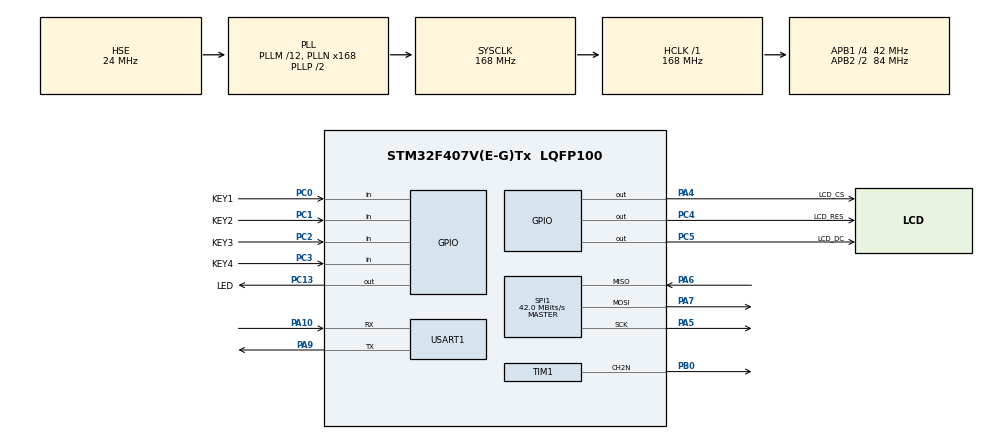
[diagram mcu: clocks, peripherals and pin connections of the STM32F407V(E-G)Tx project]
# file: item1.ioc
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Dma.Request0=USART1_TX
Dma.Request1=SPI1_TX
Dma.Request2=USART1_RX
Dma.SPI1_TX.1.Direction=DMA_MEMORY_TO_PERIPH
Dma.SPI1_TX.1.FIFOMode=DMA_FIFOMODE_DISABLE
Dma.SPI1_TX.1.Instance=DMA2_Stream3
Dma.SPI1_TX.1.MemDataAlignment=DMA_MDATAALIGN_BYTE
Dma.SPI1_TX.1.MemInc=DMA_MINC_ENABLE
Dma.SPI1_TX.1.Mode=DMA_NORMAL
Dma.SPI1_TX.1.PeriphDataAlignment=DMA_PDATAALIGN_BYTE
Dma.SPI1_TX.1.PeriphInc=DMA_PINC_DISABLE
Dma.SPI1_TX.1.Priority=DMA_PRIORITY_LOW
Dma.USART1_RX.2.Direction=DMA_PERIPH_TO_MEMORY
Dma.USART1_RX.2.FIFOMode=DMA_FIFOMODE_DISABLE
Dma.USART1_RX.2.Instance=DMA2_Stream2
Dma.USART1_RX.2.MemDataAlignment=DMA_MDATAALIGN_BYTE
Dma.USART1_RX.2.MemInc=DMA_MINC_ENABLE
Dma.USART1_RX.2.Mode=DMA_CIRCULAR
Dma.USART1_RX.2.PeriphDataAlignment=DMA_PDATAALIGN_BYTE
Dma.USART1_RX.2.PeriphInc=DMA_PINC_DISABLE
Dma.USART1_RX.2.Priority=DMA_PRIORITY_LOW
Dma.USART1_TX.0.Direction=DMA_MEMORY_TO_PERIPH
Dma.USART1_TX.0.FIFOMode=DMA_FIFOMODE_DISABLE
Dma.USART1_TX.0.Instance=DMA2_Stream7
Dma.USART1_TX.0.MemDataAlignment=DMA_MDATAALIGN_BYTE
Dma.USART1_TX.0.MemInc=DMA_MINC_ENABLE
Dma.USART1_TX.0.Mode=DMA_NORMAL
Dma.USART1_TX.0.PeriphDataAlignment=DMA_PDATAALIGN_BYTE
Dma.USART1_TX.0.PeriphInc=DMA_PINC_DISABLE
Dma.USART1_TX.0.Priority=DMA_PRIORITY_LOW
FREERTOS.Tasks01=defaultTask,24,1024,StartDefaultTask,Default,NULL,Dynamic,NULL,NULL;AppTaskpoll,8,128,AppTaskcb,Default,NULL,Dynamic,NULL,NULL
Mcu.Family=STM32F4
Mcu.Name=STM32F407V(E-G)Tx
Mcu.Package=LQFP100
NVIC.DMA2_Stream2_IRQn=true\:5\:0\:false\:false\:true\:true\:false\:true\:true
NVIC.DMA2_Stream3_IRQn=true\:5\:0\:false\:false\:true\:true\:false\:true\:true
NVIC.DMA2_Stream7_IRQn=true\:5\:0\:false\:false\:true\:true\:false\:true\:true
NVIC.PriorityGroup=NVIC_PRIORITYGROUP_4
NVIC.SPI1_IRQn=true\:5\:0\:false\:false\:true\:true\:true\:true\:true
NVIC.TIM2_IRQn=true\:5\:0\:false\:false\:true\:true\:true\:true\:true
NVIC.TIM4_IRQn=true\:15\:0\:false\:false\:true\:false\:false\:true\:true
NVIC.TimeBase=TIM4_IRQn
NVIC.TimeBaseIP=TIM4
NVIC.USART1_IRQn=true\:5\:0\:false\:false\:true\:true\:true\:true\:true
PA10.Mode=Asynchronous
PA10.Signal=USART1_RX
PA13.Mode=Serial_Wire
PA13.Signal=SYS_JTMS-SWDIO
PA14.Mode=Serial_Wire
PA14.Signal=SYS_JTCK-SWCLK
PA4.GPIO_Label=LCD_CS
PA4.GPIO_Speed=GPIO_SPEED_FREQ_HIGH
PA4.Signal=GPIO_Output
PA5.Mode=Full_Duplex_Master
PA5.Signal=SPI1_SCK
PA6.Mode=Full_Duplex_Master
PA6.Signal=SPI1_MISO
PA7.Mode=Full_Duplex_Master
PA7.Signal=SPI1_MOSI
PA9.Mode=Asynchronous
PA9.Signal=USART1_TX
PB0.Mode=PWM Generation2 CH2N
PB0.Signal=TIM1_CH2N
PC0.GPIO_Label=KEY1
PC0.GPIO_PuPd=GPIO_PULLUP
PC0.Signal=GPIO_Input
PC1.GPIO_Label=KEY2
PC1.GPIO_PuPd=GPIO_PULLUP
PC1.Signal=GPIO_Input
PC13-ANTI_TAMP.GPIO_Label=LED
PC13-ANTI_TAMP.Signal=GPIO_Output
PC14-OSC32_IN.Mode=LSE-External-Oscillator
PC14-OSC32_IN.Signal=RCC_OSC32_IN
PC15-OSC32_OUT.Mode=LSE-External-Oscillator
PC15-OSC32_OUT.Signal=RCC_OSC32_OUT
PC2.GPIO_Label=KEY3
PC2.GPIO_PuPd=GPIO_PULLUP
PC2.Signal=GPIO_Input
PC3.GPIO_Label=KEY4
PC3.GPIO_PuPd=GPIO_PULLUP
PC3.Signal=GPIO_Input
PC4.GPIO_Label=LCD_RES
PC4.GPIO_Speed=GPIO_SPEED_FREQ_HIGH
PC4.Signal=GPIO_Output
PC5.GPIO_Label=LCD_DC
PC5.GPIO_Speed=GPIO_SPEED_FREQ_HIGH
PC5.Signal=GPIO_Output
PH0-OSC_IN.Mode=HSE-External-Oscillator
PH0-OSC_IN.Signal=RCC_OSC_IN
PH1-OSC_OUT.Mode=HSE-External-Oscillator
PH1-OSC_OUT.Signal=RCC_OSC_OUT
ProjectManager.HeapSize=0x200
ProjectManager.StackSize=0x400
ProjectManager.TargetToolchain=MDK-ARM V5.32
RCC.48MHZClocksFreq_Value=84000000
RCC.AHBFreq_Value=168000000
RCC.APB1CLKDivider=RCC_HCLK_DIV4
RCC.APB1Freq_Value=42000000
RCC.APB1TimFreq_Value=84000000
RCC.APB2CLKDivider=RCC_HCLK_DIV2
RCC.APB2Freq_Value=84000000
RCC.APB2TimFreq_Value=168000000
RCC.CortexFreq_Value=168000000
RCC.HCLKFreq_Value=168000000
RCC.HSE_VALUE=24000000
RCC.HSI_VALUE=16000000
RCC.PLLM=12
RCC.PLLN=168
RCC.PLLSourceVirtual=RCC_PLLSOURCE_HSE
RCC.RCC_RTC_Clock_Source=RCC_RTCCLKSOURCE_LSE
RCC.RCC_RTC_Clock_SourceVirtual=RCC_RTCCLKSOURCE_LSE
RCC.SYSCLKFreq_VALUE=168000000
RCC.SYSCLKSource=RCC_SYSCLKSOURCE_PLLCLK
RCC.VCOOutputFreq_Value=336000000
SPI1.CalculateBaudRate=42.0 MBits/s
SPI1.Direction=SPI_DIRECTION_2LINES
SPI1.Mode=SPI_MODE_MASTER
SPI1.VirtualType=VM_MASTER
TIM1.AutoReloadPreload=TIM_AUTORELOAD_PRELOAD_ENABLE
TIM1.Channel-PWM\ Generation2\ CH2N=TIM_CHANNEL_2
TIM1.Period=1000-1
TIM1.Prescaler=168-1
TIM2.AutoReloadPreload=TIM_AUTORELOAD_PRELOAD_ENABLE
TIM2.Period=1000
TIM2.Prescaler=84-1
USART1.VirtualMode=VM_ASYNC
VP_FREERTOS_VS_CMSIS_V2.Mode=CMSIS_V2
VP_RTC_VS_RTC_Activate.Mode=RTC_Enabled
VP_RTC_VS_RTC_Calendar.Mode=RTC_Calendar
VP_RTC_VS_RTC_WakeUp_intern.Mode=WakeUp
VP_SYS_VS_tim4.Mode=TIM4
VP_TIM1_VS_ClockSourceINT.Mode=Internal
VP_TIM2_VS_ClockSourceINT.Mode=Internal
board=custom

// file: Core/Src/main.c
/* USER CODE BEGIN Header */
/**
  ******************************************************************************
  * @file           : main.c
  * @brief          : Main program body
  ******************************************************************************
  * @attention
  *
  * Copyright (c) 2026 STMicroelectronics.
  * All rights reserved.
  *
  * This software is licensed under terms that can be found in the LICENSE file
  * in the root directory of this software component.
  * If no LICENSE file comes with this software, it is provided AS-IS.
  *
  ******************************************************************************
  */
/* USER CODE END Header */
#include "main.h"
#include "cmsis_os.h"
#include "dma.h"
#include "rtc.h"
#include "spi.h"
#include "tim.h"
#include "usart.h"
#include "gpio.h"

/* USER CODE BEGIN Includes */
#include "lvgl.h"
#include "lv_port_disp.h"
#include "lv_port_indev.h"
#include "lvgl_demo.h"
#include "schedule.h"
#include "custom.h"
/* USER CODE END Includes */

/* USER CODE BEGIN PV */
/* GUI Guider 的界面对象集合（gui_guider.h �? extern 声明�? */
gg_ui_t guider_ui;
/* USER CODE END PV */

void SystemClock_Config(void);
void MX_FREERTOS_Init(void);

int main(void)
{

  /* MCU Configuration--------------------------------------------------------*/

  /* Reset of all peripherals, Initializes the Flash interface and the Systick. */
  HAL_Init();

  /* Configure the system clock */
  SystemClock_Config();

  /* Initialize all configured peripherals */
  MX_GPIO_Init();
  MX_DMA_Init();
  MX_USART1_UART_Init();
  MX_SPI1_Init();
  MX_TIM1_Init();
  MX_TIM2_Init();
  MX_RTC_Init();
  /* USER CODE BEGIN 2 */
  IsrUserInit();

  /* LVGL init: tick source = FreeRTOS SysTick (1 ms) */
  lv_init();
  lv_tick_set_cb(osKernelGetTickCount);

  /* display port + input device + GUI Guider UI */
  lv_port_disp_init();
  lv_port_indev_init();
  // lvgl_demo_init();
  custom_init(&guider_ui);
  /* USER CODE END 2 */

  /* Init scheduler */
  osKernelInitialize();  /* Call init function for freertos objects (in freertos.c) */
  MX_FREERTOS_Init();

  /* Start scheduler */
  osKernelStart();
  /* We should never get here as control is now taken by the scheduler */
  /* Infinite loop */
  while (1)
  {

  }
}

void SystemClock_Config(void)
{
  RCC_OscInitTypeDef RCC_OscInitStruct = {0};
  RCC_ClkInitTypeDef RCC_ClkInitStruct = {0};

  /** Configure the main internal regulator output voltage
  */
  __HAL_RCC_PWR_CLK_ENABLE();
  __HAL_PWR_VOLTAGESCALING_CONFIG(PWR_REGULATOR_VOLTAGE_SCALE1);

  /** Initializes the RCC Oscillators according to the specified parameters
  * in the RCC_OscInitTypeDef structure.
  */
  RCC_OscInitStruct.OscillatorType = RCC_OSCILLATORTYPE_HSE|RCC_OSCILLATORTYPE_LSE;
  RCC_OscInitStruct.HSEState = RCC_HSE_ON;
  RCC_OscInitStruct.LSEState = RCC_LSE_ON;
  RCC_OscInitStruct.PLL.PLLState = RCC_PLL_ON;
  RCC_OscInitStruct.PLL.PLLSource = RCC_PLLSOURCE_HSE;
  RCC_OscInitStruct.PLL.PLLM = 12;
  RCC_OscInitStruct.PLL.PLLN = 168;
  RCC_OscInitStruct.PLL.PLLP = RCC_PLLP_DIV2;
  RCC_OscInitStruct.PLL.PLLQ = 4;
  if (HAL_RCC_OscConfig(&RCC_OscInitStruct) != HAL_OK)
  {
    Error_Handler();
  }

  /** Initializes the CPU, AHB and APB buses clocks
  */
  RCC_ClkInitStruct.ClockType = RCC_CLOCKTYPE_HCLK|RCC_CLOCKTYPE_SYSCLK
                              |RCC_CLOCKTYPE_PCLK1|RCC_CLOCKTYPE_PCLK2;
  RCC_ClkInitStruct.SYSCLKSource = RCC_SYSCLKSOURCE_PLLCLK;
  RCC_ClkInitStruct.AHBCLKDivider = RCC_SYSCLK_DIV1;
  RCC_ClkInitStruct.APB1CLKDivider = RCC_HCLK_DIV4;
  RCC_ClkInitStruct.APB2CLKDivider = RCC_HCLK_DIV2;

  if (HAL_RCC_ClockConfig(&RCC_ClkInitStruct, FLASH_LATENCY_5) != HAL_OK)
  {
    Error_Handler();
  }
}

void HAL_TIM_PeriodElapsedCallback(TIM_HandleTypeDef *htim)
{
  /* USER CODE BEGIN Callback 0 */
  if(htim->Instance == TIM2) {
    sched_poll();
  }
  /* USER CODE END Callback 0 */
  if (htim->Instance == TIM4) {
    HAL_IncTick();
  }
}

void Error_Handler(void)
{
}

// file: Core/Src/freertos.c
/* USER CODE BEGIN Header */
/**
  ******************************************************************************
  * File Name          : freertos.c
  * Description        : Code for freertos applications
  ******************************************************************************
  * @attention
  *
  * Copyright (c) 2026 STMicroelectronics.
  * All rights reserved.
  *
  * This software is licensed under terms that can be found in the LICENSE file
  * in the root directory of this software component.
  * If no LICENSE file comes with this software, it is provided AS-IS.
  *
  ******************************************************************************
  */
/* USER CODE END Header */

#include "FreeRTOS.h"
#include "task.h"
#include "main.h"
#include "cmsis_os.h"

/* USER CODE BEGIN Includes */
#include "lvgl.h"
/* USER CODE END Includes */

/* Definitions for defaultTask */
osThreadId_t defaultTaskHandle;
const osThreadAttr_t defaultTask_attributes = {
  .name = "defaultTask",
  .stack_size = 1024 * 4,
  .priority = (osPriority_t) osPriorityNormal,
};
/* Definitions for AppTaskpoll */
osThreadId_t AppTaskpollHandle;
const osThreadAttr_t AppTaskpoll_attributes = {
  .name = "AppTaskpoll",
  .stack_size = 128 * 4,
  .priority = (osPriority_t) osPriorityLow,
};

void StartDefaultTask(void *argument);
void AppTaskcb(void *argument);

void MX_FREERTOS_Init(void); /* (MISRA C 2004 rule 8.1) */

void MX_FREERTOS_Init(void) {

  /* Create the thread(s) */
  /* creation of defaultTask */
  defaultTaskHandle = osThreadNew(StartDefaultTask, NULL, &defaultTask_attributes);

  /* creation of AppTaskpoll */
  AppTaskpollHandle = osThreadNew(AppTaskcb, NULL, &AppTaskpoll_attributes);

}

void StartDefaultTask(void *argument)
{
  /* USER CODE BEGIN StartDefaultTask */

  /* Infinite loop */
  for(;;)
  {
    lv_timer_handler();   /* LVGL 任务处理：刷新定时器、重绘等 */
    osDelay(5);
  }
  /* USER CODE END StartDefaultTask */
}

void AppTaskcb(void *argument)
{
  /* USER CODE BEGIN AppTaskcb */
  /* Infinite loop */
  for(;;)
  {
	  user_poll();
    osDelay(1000);
  }
  /* USER CODE END AppTaskcb */
}
